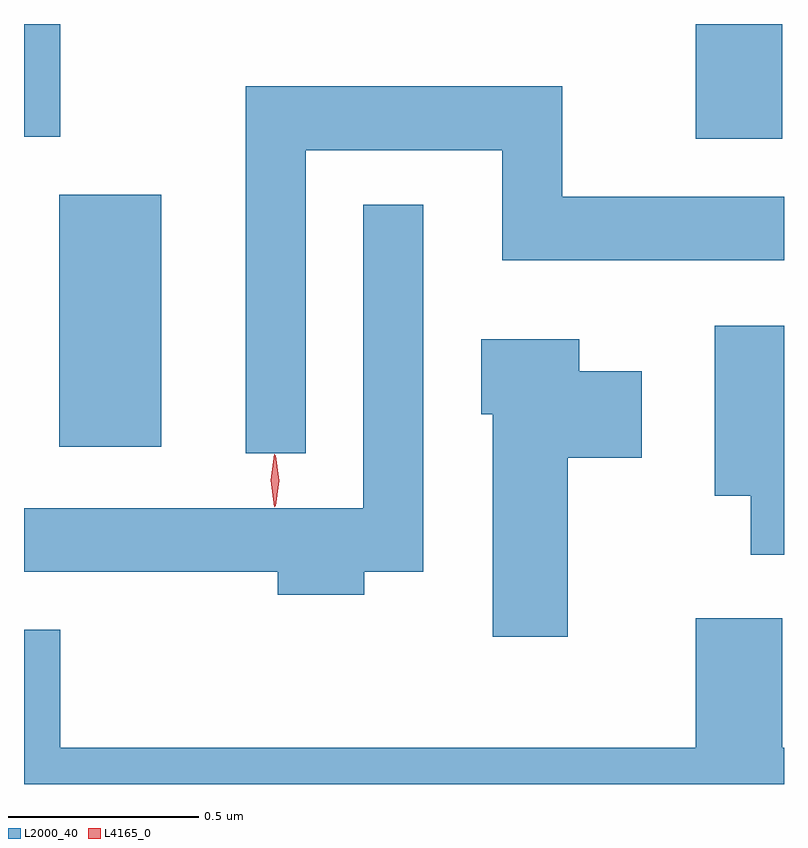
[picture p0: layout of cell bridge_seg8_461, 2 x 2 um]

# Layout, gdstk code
import gdstk
lib = gdstk.Library(unit=1e-6, precision=1e-09)
def R(c, l, rs):  # rectangles x0, y0, x1, y1
    for r in rs: c.add(gdstk.rectangle(r[:2], r[2:], *l))
def P(c, l, *ps):  # polygons
    for p in ps: c.add(gdstk.Polygon(p, *l))
L2000_40 = (2000, 40)
L4165_0 = (4165, 0)

bridge_seg8_461 = lib.new_cell('bridge_seg8_461')
R(bridge_seg8_461, L2000_40, [(527.176,1930.716,527.444,1931.379), (528.851,1931.526,529.079,1931.828), (527.083,1931.531,527.179,1931.828)])
P(bridge_seg8_461, L2000_40, [(527.824,1931.496),(528.341,1931.496),(528.341,1931.206),(529.083,1931.206),(529.083,1931.374),(528.499,1931.374),(528.499,1931.664),(527.666,1931.664),(527.666,1930.698),(527.824,1930.698)],
  [(527.979,1930.386),(528.134,1930.386),(528.134,1931.353),(527.976,1931.353),(527.976,1930.554),(527.083,1930.554),(527.083,1930.386),(527.751,1930.386),(527.751,1930.326),(527.979,1930.326)],
  [(529.083,1931.034),(528.901,1931.034),(528.901,1930.586),(528.996,1930.586),(528.996,1930.431),(529.083,1930.431)],
  [(528.514,1930.686),(528.709,1930.686),(528.709,1930.914),(528.544,1930.914),(528.544,1930.999),(528.286,1930.999),(528.286,1930.801),(528.316,1930.801),(528.316,1930.216),(528.514,1930.216)],
  [(529.083,1929.924),(529.079,1929.924),(529.079,1930.264),(528.851,1930.264),(528.851,1929.924),(527.179,1929.924),(527.179,1930.234),(527.083,1930.234),(527.083,1929.828),(529.083,1929.828)])
P(bridge_seg8_461, L4165_0, [(527.742,1930.557),(527.742,1930.558),(527.732,1930.627),(527.742,1930.696),(527.742,1930.696),(527.743,1930.696),(527.752,1930.627),(527.743,1930.558)],
  [(527.745,1930.559),(527.744,1930.56),(527.735,1930.626),(527.744,1930.692),(527.745,1930.693),(527.745,1930.692),(527.755,1930.626),(527.745,1930.56)])

lib.write_gds('bridge_seg8_461.gds')
